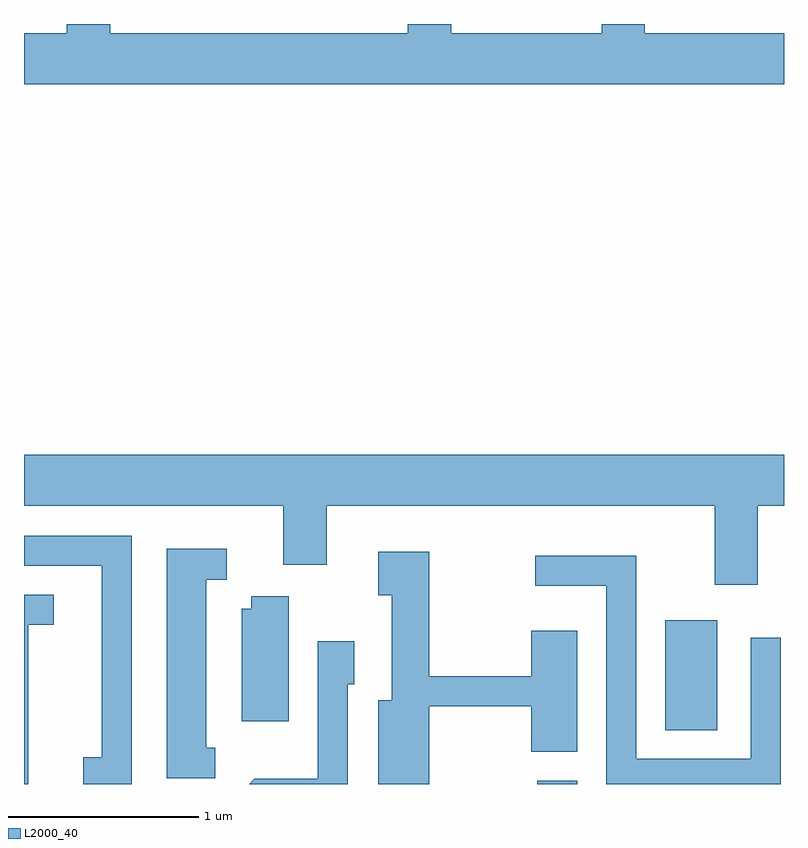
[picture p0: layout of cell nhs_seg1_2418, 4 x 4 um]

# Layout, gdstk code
import gdstk
lib = gdstk.Library(unit=1e-6, precision=1e-09)
def R(c, l, rs):  # rectangles x0, y0, x1, y1
    for r in rs: c.add(gdstk.rectangle(r[:2], r[2:], *l))
def P(c, l, *ps):  # polygons
    for p in ps: c.add(gdstk.Polygon(p, *l))
L2000_40 = (2000, 40)

nhs_seg1_2418 = lib.new_cell('nhs_seg1_2418')
R(nhs_seg1_2418, L2000_40, [(262.311,853.712,262.524,853.729), (262.986,853.996,263.259,854.574)])
P(nhs_seg1_2418, L2000_40, [(263.611,857.664),(262.879,857.664),(262.879,857.712),(262.651,857.712),(262.651,857.664),(261.859,857.664),(261.859,857.712),(261.631,857.712),(261.631,857.664),(260.064,857.664),(260.064,857.712),(259.836,857.712),(259.836,857.664),(259.611,857.664),(259.611,857.396),(263.611,857.396)],
  [(263.474,855.176),(263.611,855.176),(263.611,855.444),(259.611,855.444),(259.611,855.176),(260.976,855.176),(260.976,854.866),(261.204,854.866),(261.204,855.176),(263.246,855.176),(263.246,854.761),(263.474,854.761)],
  [(260.179,855.019),(259.611,855.019),(259.611,854.861),(260.021,854.861),(260.021,853.854),(259.923,853.854),(259.923,853.712),(260.179,853.712)],
  [(260.618,853.904),(260.569,853.904),(260.569,854.786),(260.678,854.786),(260.678,854.949),(260.361,854.949),(260.361,853.741),(260.618,853.741)],
  [(261.744,854.121),(262.281,854.121),(262.281,853.881),(262.524,853.881),(262.524,854.519),(262.281,854.519),(262.281,854.279),(261.744,854.279),(261.744,854.934),(261.476,854.934),(261.476,854.706),(261.546,854.706),(261.546,854.154),(261.476,854.154),(261.476,853.712),(261.744,853.712)],
  [(263.594,854.483),(263.436,854.483),(263.436,853.844),(262.834,853.844),(262.834,854.914),(262.303,854.914),(262.303,854.756),(262.676,854.756),(262.676,853.712),(263.594,853.712)],
  [(259.634,854.551),(259.767,854.551),(259.767,854.709),(259.611,854.709),(259.611,853.712),(259.634,853.712)],
  [(261.004,854.699),(260.806,854.699),(260.806,854.634),(260.756,854.634),(260.756,854.041),(261.004,854.041)],
  [(261.314,854.236),(261.349,854.236),(261.349,854.464),(261.156,854.464),(261.156,853.739),(260.824,853.739),(260.797,853.712),(261.314,853.712)])

lib.write_gds('nhs_seg1_2418.gds')
